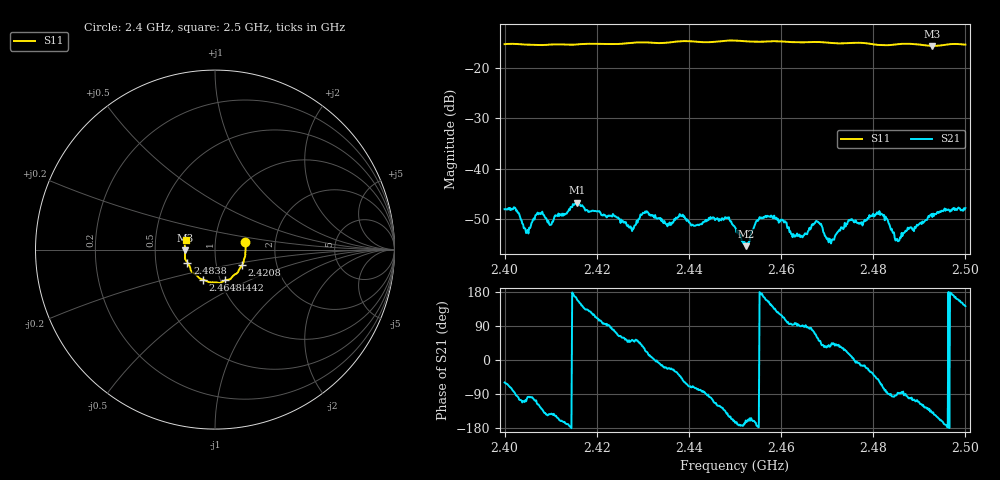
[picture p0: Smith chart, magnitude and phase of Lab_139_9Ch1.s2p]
# Hz S RI R 50
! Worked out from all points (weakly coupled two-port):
!   601 points, 2.4 GHz to 2.5 GHz, reference 50 ohm
!   highest |S21| = -46.81 dB at 2.4157 GHz (marker M1); lowest = -55.4 dB at 2.4523 GHz (marker M2)
!   lowest |S11| = -15.6 dB at 2.4928 GHz (marker M3), VSWR 1.40, Z = 35.8 - j0.341 ohm
!   |S11| at or under -10 dB: start of sweep to end of sweep
!   S12 and S22 are empty: the file has one direction only
!   S11 on the Smith chart (normalised r, x): 2.4 GHz: 1.40, +0.12; 2.4208 GHz: 1.33, -0.24; 2.4442 GHz: 1.05, -0.37; 2.4648 GHz: 0.83, -0.29; 2.4838 GHz: 0.73, -0.11; 2.5 GHz: 0.72, +0.08
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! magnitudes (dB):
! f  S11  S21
! 2.4 GHz  -15.3  -48.1
! 2.405 GHz  -15.4  -52.2
! 2.4072 GHz  -15.4  -48.8
! 2.41 GHz  -15.3  -51.2
! 2.4157 GHz  -15.3  -46.8
! 2.4167 GHz  -15.2  -47.4
! 2.4208 GHz  -15.2  -48.9
! 2.4275 GHz  -15.0  -51.9
! 2.4333 GHz  -15.0  -49.9
! 2.4442 GHz  -14.9  -50.3
! 2.45 GHz  -14.5  -51.7
! 2.4523 GHz  -14.7  -55.4
! 2.457 GHz  -14.7  -49.4
! 2.4648 GHz  -14.9  -53.3
! 2.4667 GHz  -14.8  -51.2
! 2.4708 GHz  -15.0  -54.9
! 2.475 GHz  -15.0  -50.2
! 2.4833 GHz  -15.5  -50.9
! 2.4838 GHz  -15.4  -52.2
! 2.4853 GHz  -15.3  -54.5
! 2.4928 GHz  -15.6  -49.6
! 2.5 GHz  -15.4  -47.9
